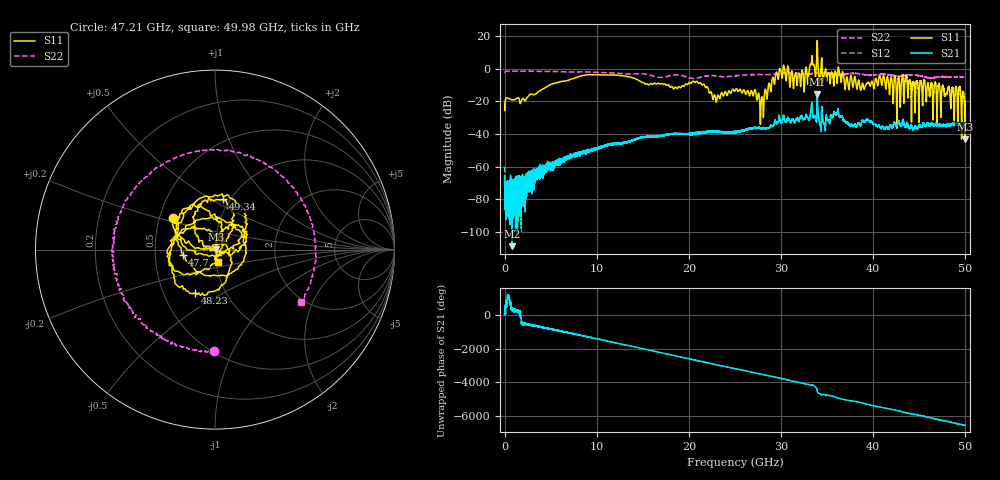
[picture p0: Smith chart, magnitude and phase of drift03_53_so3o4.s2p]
!Created with skrf (http://scikit-rf.org).
# Hz S RI R 50.0
!freq ReS11 ImS11 ReS21 ImS21 ReS12 ImS12 ReS22 ImS22
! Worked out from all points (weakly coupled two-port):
!   10001 points, 300 kHz to 50 GHz, reference 50 ohm
!   highest |S21| = -15.38 dB at 33.92 GHz (marker M1); lowest = -108.6 dB at 800.3 MHz (marker M2)
!   lowest |S11| = -43.2 dB at 49.94 GHz (marker M3), VSWR 1.01, Z = 50.7 + j0.192 ohm
!   |S11| at or under -10 dB: start of sweep to 4.852 GHz; 21.69 GHz to 28.62 GHz (6.934 GHz wide, 27.6 % of centre); 47.2 GHz to end of sweep (the widest 3 of 42)
!   |S22| runs from -5.9 to -1.3 dB; largest |S21 - S12| = 0.017
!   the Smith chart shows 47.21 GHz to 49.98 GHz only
!   S11 on the Smith chart (normalised r, x): 47.21 GHz: 0.59, +0.23; 47.7 GHz: 0.69, -0.04; 48.23 GHz: 0.72, -0.37; 49.34 GHz: 0.93, +0.56; 49.98 GHz: 1.02, -0.15
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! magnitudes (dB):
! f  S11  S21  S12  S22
! 300 kHz  -21.4  -66.5  -59.9  -2.0
! 265.3 MHz  -17.9  -75.1  -81.4  -1.4
! 800.3 MHz  -19.1  -108.6  -76.3  -1.5
! 8.335 GHz  -4.3  -51.6  -51.9  -1.9
! 16.67 GHz  -8.8  -41.4  -41.2  -5.2
! 21.01 GHz  -8.7  -39.2  -38.7  -5.5
! 22.81 GHz  -16.1  -38.4  -38.5  -4.3
! 25 GHz  -13.4  -38.6  -38.8  -4.3
! 27.92 GHz  -17.1  -36.3  -36.3  -3.5
! 29.69 GHz  -6.4  -32.2  -31.6  -3.1
! 32.32 GHz  -1.5  -30.3  -30.7  -3.3
! 33.34 GHz  7.9  -20.7  -21.0  -2.9
! 33.92 GHz  17.4  -15.4  -15.6  -2.4
! 38.82 GHz  -9.1  -31.5  -31.7  -3.3
! 41.67 GHz  -9.0  -36.5  -36.4  -3.7
! 47.21 GHz  -10.7  -34.1  -33.9  -4.9
! 47.7 GHz  -14.8  -34.2  -34.2  -4.8
! 48.23 GHz  -11.5  -34.6  -34.2  -4.8
! 49.34 GHz  -11.0  -33.3  -33.4  -5.1
! 49.94 GHz  -43.2  -33.4  -34.0  -5.0
! 49.98 GHz  -22.7  -33.9  -33.7  -5.0
! 50 GHz  -19.7  -34.3  -34.2  -5.0
